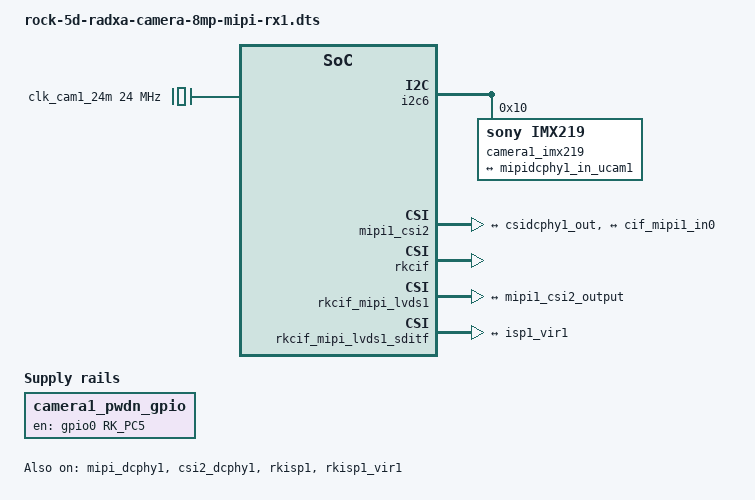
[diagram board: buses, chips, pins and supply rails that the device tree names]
/dts-v1/;
/plugin/;

#include <dt-bindings/gpio/gpio.h>
#include <dt-bindings/pinctrl/rockchip.h>

/ {
	metadata {
		title ="Enable Radxa Camera 8MP on the MIPI-RX1 connector";
		compatible = "radxa,rock-5d";
		category = "camera";
		exclusive = "csi2_dcphy1";
		description = "Enable Radxa Camera 8MP on the MIPI-RX1 connector.";
	};
};

&{/} {
	camera1_pwdn_gpio: camera1-pwdn-gpio {
		compatible = "regulator-fixed";
		regulator-name = "camera1_pwdn_gpio";
		regulator-always-on;
		regulator-boot-on;
		enable-active-high;
		gpio = <&gpio0 RK_PC5 GPIO_ACTIVE_HIGH>;
		pinctrl-names = "default";
		pinctrl-0 = <&cam1_pwdn_gpio>;
	};

	clk_cam1_24m: external-camera-clock-24m-1 {
		compatible = "fixed-clock";
		clock-frequency = <24000000>;
		clock-output-names = "clk_cam1_24m";
		#clock-cells = <0>;
	};
};

&i2c6 {
	status = "okay";
	#address-cells = <1>;
	#size-cells = <0>;
	pinctrl-names = "default";
	pinctrl-0 = <&i2c6m0_xfer>;

	camera1_imx219: camera1-imx219@10 {
		compatible = "sony,imx219";
		reg = <0x10>;

		clocks = <&clk_cam1_24m>;
		clock-names = "xvclk";

		rockchip,camera-module-index = <2>;
		rockchip,camera-module-facing = "back";
		rockchip,camera-module-name = "RADXA-CAMERA-8M";
		rockchip,camera-module-lens-name = "default";

		port {
			imx219_out1: endpoint {
				remote-endpoint = <&mipidcphy1_in_ucam1>;
				data-lanes = <1 2>;
			};
		};
	};
};

&mipi_dcphy1 {
	status = "okay";
};

&csi2_dcphy1 {
	status = "okay";

	ports {
		#address-cells = <1>;
		#size-cells = <0>;

		port@0 {
			reg = <0>;
			#address-cells = <1>;
			#size-cells = <0>;

			mipidcphy1_in_ucam1: endpoint@2 {
				reg = <2>;
				remote-endpoint = <&imx219_out1>;
				data-lanes = <1 2>;
			};
		};

		port@1 {
			reg = <1>;
			#address-cells = <1>;
			#size-cells = <0>;

			csidcphy1_out: endpoint@0 {
				reg = <0>;
				remote-endpoint = <&mipi1_csi2_input>;
			};
		};
	};
};

&mipi1_csi2 {
	status = "okay";

	ports {
		#address-cells = <1>;
		#size-cells = <0>;

		port@0 {
			reg = <0>;
			#address-cells = <1>;
			#size-cells = <0>;

			mipi1_csi2_input: endpoint@1 {
				reg = <1>;
				remote-endpoint = <&csidcphy1_out>;
			};
		};

		port@1 {
			reg = <1>;
			#address-cells = <1>;
			#size-cells = <0>;

			mipi1_csi2_output: endpoint@0 {
				reg = <0>;
				remote-endpoint = <&cif_mipi1_in0>;
			};
		};
	};
};

&rkcif {
	status = "okay";
};

&rkcif_mipi_lvds1 {
	status = "okay";

	port {
		cif_mipi1_in0: endpoint {
			remote-endpoint = <&mipi1_csi2_output>;
		};
	};
};

&rkcif_mipi_lvds1_sditf {
	status = "okay";

	port {
		mipi_lvds1_sditf: endpoint {
			remote-endpoint = <&isp1_vir1>;
		};
	};
};

&rkcif_mmu {
	status = "okay";
};

&isp1_mmu {
	status = "okay";
};

&rkisp1 {
	status = "okay";
};

&rkisp1_vir1 {
	status = "okay";

	port {
		#address-cells = <1>;
		#size-cells = <0>;

		isp1_vir1: endpoint@0 {
			reg = <0>;
			remote-endpoint = <&mipi_lvds1_sditf>;
		};
	};
};

&pinctrl {
	camera {
		cam1_pwdn_gpio: cam1-pwdn-gpio {
			rockchip,pins = <0 RK_PC5 RK_FUNC_GPIO &pcfg_pull_up>;
		};
	};
};
